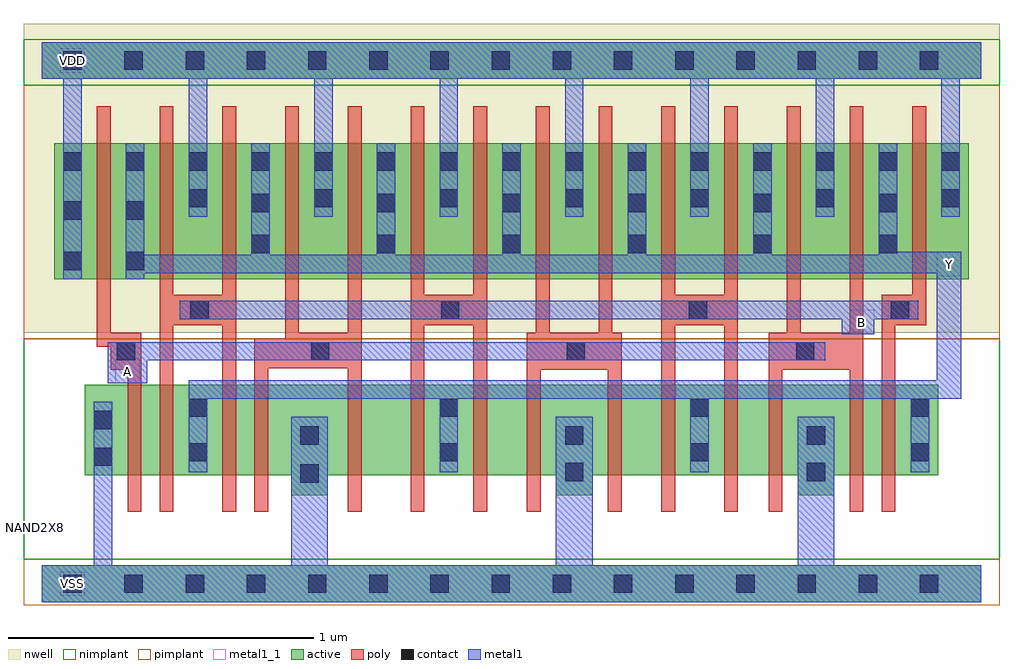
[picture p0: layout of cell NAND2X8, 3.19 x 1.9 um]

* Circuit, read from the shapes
.subckt NAND2X8 A B VDD VSS Y
M1 n1 A VSS VSS nfet w=0.295u l=0.045u
M2 Y B n1 VSS nfet w=0.295u l=0.045u
M3 n2 B Y VSS nfet w=0.295u l=0.045u
M4 VSS A n2 VSS nfet w=0.295u l=0.045u
M5 n3 A VSS VSS nfet w=0.295u l=0.045u
M6 Y B n3 VSS nfet w=0.295u l=0.045u
M7 n4 B Y VSS nfet w=0.295u l=0.045u
M8 VSS A n4 VSS nfet w=0.295u l=0.045u
M9 n5 A VSS VSS nfet w=0.295u l=0.045u
M10 Y B n5 VSS nfet w=0.295u l=0.045u
M11 n6 B Y VSS nfet w=0.295u l=0.045u
M12 VSS A n6 VSS nfet w=0.295u l=0.045u
M13 n7 A VSS VSS nfet w=0.295u l=0.045u
M14 Y B n7 VSS nfet w=0.295u l=0.045u
M15 Y A VDD VDD pfet w=0.445u l=0.045u m=7
M16 VDD B Y VDD pfet w=0.445u l=0.045u m=7
.ends

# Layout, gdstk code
import gdstk
lib = gdstk.Library(unit=1e-6, precision=5e-10)
def R(c, l, rs):  # rectangles x0, y0, x1, y1
    for r in rs: c.add(gdstk.rectangle(r[:2], r[2:], *l))
def A(c, l, x, y, w, h, nx, ny, dx, dy):  # array of equal rectangles
    R(c, l, [(x+i*dx, y+j*dy, x+i*dx+w, y+j*dy+h) for i in range(nx) for j in range(ny)])
def P(c, l, *ps):  # polygons
    for p in ps: c.add(gdstk.Polygon(p, *l))
active = (1, 0)
nwell = (2, 0)
poly = (3, 0)
nimplant = (4, 0)
pimplant = (5, 0)
contact = (6, 0)
metal1 = (7, 0)
metal1_1 = (7, 1)

nand2x8 = lib.new_cell('NAND2X8')
R(nand2x8, active, [(0,-0.06,3.07,0.06), (0.815,0.29,0.935,0.46), (1.68,0.29,1.8,0.46), (2.47,0.29,2.59,0.46), (0.14,0.355,2.93,0.65), (0.04,0.995,3.03,1.44), (0,1.65,3.07,1.77)])
R(nand2x8, nwell, [(-0.06,0.82,3.13,1.83)])
P(nand2x8, poly, [(2.89,1.56),(2.845,1.56),(2.845,0.945),(2.745,0.945),(2.745,0.235),(2.79,0.235),(2.79,0.845),(2.89,0.845)],
  [(2.685,1.56),(2.64,1.56),(2.64,0.82),(2.48,0.82),(2.48,1.56),(2.435,1.56),(2.435,0.82),(2.375,0.82),(2.375,0.235),(2.42,0.235),(2.42,0.7),(2.64,0.7),(2.64,0.235),(2.685,0.235)],
  [(2.275,1.56),(2.23,1.56),(2.23,0.945),(2.07,0.945),(2.07,1.56),(2.025,1.56),(2.025,0.235),(2.07,0.235),(2.07,0.845),(2.23,0.845),(2.23,0.235),(2.275,0.235)],
  [(1.895,0.82),(1.865,0.82),(1.865,1.56),(1.82,1.56),(1.82,0.82),(1.66,0.82),(1.66,1.56),(1.615,1.56),(1.615,0.82),(1.585,0.82),(1.585,0.235),(1.63,0.235),(1.63,0.7),(1.85,0.7),(1.85,0.235),(1.895,0.235)],
  [(1.455,1.56),(1.41,1.56),(1.41,0.945),(1.25,0.945),(1.25,1.56),(1.205,1.56),(1.205,0.235),(1.25,0.235),(1.25,0.845),(1.41,0.845),(1.41,0.235),(1.455,0.235)],
  [(1.045,1.56),(1,1.56),(1,0.82),(0.84,0.82),(0.84,1.56),(0.795,1.56),(0.795,0.8),(0.695,0.8),(0.695,0.235),(0.74,0.235),(0.74,0.705),(1,0.705),(1,0.235),(1.045,0.235)],
  [(0.635,1.56),(0.59,1.56),(0.59,0.945),(0.43,0.945),(0.43,1.56),(0.385,1.56),(0.385,0.235),(0.43,0.235),(0.43,0.845),(0.59,0.845),(0.59,0.235),(0.635,0.235)],
  [(0.325,0.82),(0.225,0.82),(0.225,1.56),(0.18,1.56),(0.18,0.775),(0.225,0.775),(0.225,0.7),(0.28,0.7),(0.28,0.235),(0.325,0.235)])
R(nand2x8, nimplant, [(-0.06,0.08,3.13,0.8), (-0.06,1.63,3.13,1.78)])
R(nand2x8, pimplant, [(-0.06,-0.07,3.13,0.08), (-0.06,0.8,3.13,1.63)])
A(nand2x8, contact, 0.07, -0.03, 0.06, 0.06, 15, 2, 0.2, 1.71)
A(nand2x8, contact, 0.48, 0.4, 0.06, 0.06, 3, 2, 0.82, 0.145)
A(nand2x8, contact, 0.685, 1.08, 0.06, 0.06, 6, 2, 0.41, 0.135)
A(nand2x8, contact, 0.48, 1.23, 0.06, 0.06, 7, 1, 0.41, 0)
A(nand2x8, contact, 0.07, 1.35, 0.06, 0.06, 15, 1, 0.205, 0)
R(nand2x8, contact, [(0.845,0.33,0.905,0.39), (1.71,0.335,1.77,0.395), (2.5,0.335,2.56,0.395), (0.17,0.385,0.23,0.445), (2.84,0.4,2.9,0.46), (0.845,0.455,0.905,0.515), (1.71,0.455,1.77,0.515), (2.5,0.455,2.56,0.515), (0.17,0.505,0.23,0.565), (2.84,0.545,2.9,0.605), (0.245,0.73,0.305,0.79), (0.88,0.73,0.94,0.79), (1.715,0.73,1.775,0.79), (2.465,0.73,2.525,0.79), (0.485,0.865,0.545,0.925), (1.305,0.865,1.365,0.925), (2.115,0.865,2.175,0.925), (2.775,0.865,2.835,0.925), (0.07,1.025,0.13,1.085), (0.275,1.025,0.335,1.085), (0.07,1.19,0.13,1.25), (0.275,1.19,0.335,1.25)])
P(nand2x8, metal1, [(3.07,0.06),(2.59,0.06),(2.59,0.545),(2.47,0.545),(2.47,0.06),(1.8,0.06),(1.8,0.545),(1.68,0.545),(1.68,0.06),(0.935,0.06),(0.935,0.545),(0.815,0.545),(0.815,0.06),(0.23,0.06),(0.23,0.595),(0.17,0.595),(0.17,0.06),(0,0.06),(0,-0.06),(3.07,-0.06)],
  [(3.07,1.77),(0,1.77),(0,1.65),(0.07,1.65),(0.07,0.995),(0.13,0.995),(0.13,1.65),(0.48,1.65),(0.48,1.2),(0.54,1.2),(0.54,1.65),(0.89,1.65),(0.89,1.2),(0.95,1.2),(0.95,1.65),(1.3,1.65),(1.3,1.2),(1.36,1.2),(1.36,1.65),(1.71,1.65),(1.71,1.2),(1.77,1.2),(1.77,1.65),(2.12,1.65),(2.12,1.2),(2.18,1.2),(2.18,1.65),(2.53,1.65),(2.53,1.2),(2.59,1.2),(2.59,1.65),(2.94,1.65),(2.94,1.2),(3,1.2),(3,1.65),(3.07,1.65)],
  [(3.005,1.085),(2.795,1.085),(2.795,1.44),(2.735,1.44),(2.735,1.075),(2.385,1.075),(2.385,1.44),(2.325,1.44),(2.325,1.075),(1.975,1.075),(1.975,1.44),(1.915,1.44),(1.915,1.075),(1.565,1.075),(1.565,1.44),(1.505,1.44),(1.505,1.075),(1.155,1.075),(1.155,1.44),(1.095,1.44),(1.095,1.075),(0.745,1.075),(0.745,1.44),(0.685,1.44),(0.685,1.075),(0.335,1.075),(0.335,1.44),(0.275,1.44),(0.275,0.995),(0.335,0.995),(0.335,1.015),(2.925,1.015),(2.925,0.665),(0.48,0.665),(0.48,0.365),(0.54,0.365),(0.54,0.605),(1.3,0.605),(1.3,0.365),(1.36,0.365),(1.36,0.605),(2.12,0.605),(2.12,0.365),(2.18,0.365),(2.18,0.605),(2.84,0.605),(2.84,0.365),(2.9,0.365),(2.9,0.605),(3.005,0.605)],
  [(2.865,0.925),(0.45,0.925),(0.45,0.865),(2.615,0.865),(2.615,0.815),(2.72,0.815),(2.72,0.865),(2.865,0.865)],
  [(2.56,0.79),(0.215,0.79),(0.215,0.655),(0.345,0.655),(0.345,0.73),(2.56,0.73)])
R(nand2x8, metal1_1, [(0.06,-0.04,0.14,0.04), (0.24,0.655,0.32,0.735), (2.64,0.815,2.72,0.895), (2.925,1.005,3.005,1.085), (0.06,1.67,0.14,1.75)])
nand2x8.add(gdstk.Label('VSS', (0.1,0), layer=7, texttype=1))
nand2x8.add(gdstk.Label('B', (2.68,0.855), layer=7, texttype=1))
nand2x8.add(gdstk.Label('A', (0.28,0.695), layer=7, texttype=1))
nand2x8.add(gdstk.Label('VDD', (0.1,1.71), layer=7, texttype=1))
nand2x8.add(gdstk.Label('Y', (2.965,1.045), layer=7, texttype=1))
nand2x8.add(gdstk.Label('NAND2X8', (-0.02,0.185), layer=63, texttype=0))

lib.write_gds('NAND2X8.gds')
